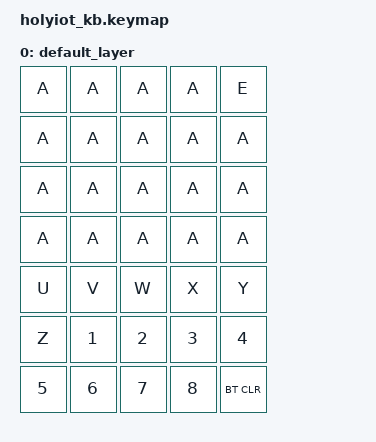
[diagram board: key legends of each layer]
#include <behaviors.dtsi>
#include <dt-bindings/zmk/bt.h>
#include <dt-bindings/zmk/keys.h>

/ {
    keymap {
        compatible = "zmk,keymap";

        default_layer {
            bindings = <
&kp A   &kp A   &kp A   &kp A   &kp E
&kp A   &kp A   &kp A   &kp A   &kp A
&kp A   &kp A   &kp A   &kp A   &kp A
&kp A   &kp A   &kp A   &kp A   &kp A
&kp U   &kp V   &kp W   &kp X   &kp Y
&kp Z   &kp N1  &kp N2  &kp N3  &kp N4
&kp N5  &kp N6  &kp N7  &kp N8  &bt BT_CLR
            >;
        };
    };
};
